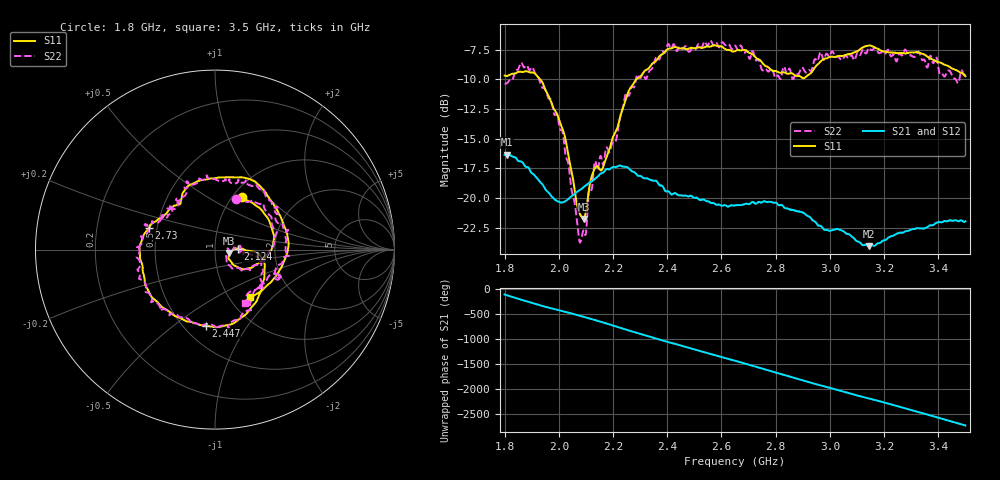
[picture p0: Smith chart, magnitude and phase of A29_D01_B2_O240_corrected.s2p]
! Created with skrf 1.9.0 (http://scikit-rf.org).
# Hz S RI R 50.0
!freq ReS11 ImS11 ReS21 ImS21 ReS12 ImS12 ReS22 ImS22
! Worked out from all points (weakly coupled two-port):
!   1601 points, 1.8 GHz to 3.5 GHz, reference 50 ohm
!   highest |S21| = -16.33 dB at 1.808 GHz (marker M1); lowest = -24.1 dB at 3.143 GHz (marker M2)
!   lowest |S11| = -21.8 dB at 2.091 GHz (marker M3), VSWR 1.18, Z = 58.6 - j2.26 ohm
!   |S11| at or under -10 dB: 1.932 GHz to 2.286 GHz (353.8 MHz wide, 16.8 % of centre)
!   |S22| runs from -23.8 to -6.7 dB; largest |S21 - S12| = 0.0029
!   S11 on the Smith chart (normalised r, x): 1.8 GHz: 1.11, +0.72; 2.124 GHz: 1.29, +0.01; 2.447 GHz: 0.64, -0.66; 2.73 GHz: 0.45, +0.13; 3.5 GHz: 1.24, -0.73
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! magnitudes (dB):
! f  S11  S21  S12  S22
! 1.8 GHz  -9.7  -16.4  -16.4  -10.3
! 1.808 GHz  -9.7  -16.3  -16.4  -10.3
! 1.865 GHz  -9.4  -17.0  -17.0  -8.7
! 1.916 GHz  -9.6  -18.2  -18.2  -9.6
! 1.969 GHz  -11.8  -19.7  -19.8  -11.6
! 2.014 GHz  -14.2  -20.4  -20.4  -14.4
! 2.073 GHz  -21.1  -19.4  -19.4  -23.1
! 2.084 GHz  -21.6  -19.2  -19.2  -23.4
! 2.091 GHz  -21.8  -19.1  -19.1  -22.7
! 2.124 GHz  -18.0  -18.6  -18.5  -18.8
! 2.162 GHz  -17.5  -17.9  -17.8  -17.2
! 2.209 GHz  -14.4  -17.4  -17.3  -15.3
! 2.247 GHz  -11.7  -17.4  -17.4  -11.2
! 2.367 GHz  -8.2  -18.8  -18.7  -8.3
! 2.447 GHz  -7.4  -19.8  -19.8  -7.2
! 2.65 GHz  -7.6  -20.6  -20.6  -7.1
! 2.73 GHz  -8.2  -20.5  -20.5  -8.4
! 2.81 GHz  -9.4  -20.6  -20.5  -9.7
! 2.934 GHz  -9.4  -21.8  -21.8  -9.2
! 3.143 GHz  -7.2  -24.1  -24.0  -7.4
! 3.217 GHz  -7.7  -23.3  -23.3  -7.6
! 3.5 GHz  -9.7  -22.0  -22.0  -9.3
